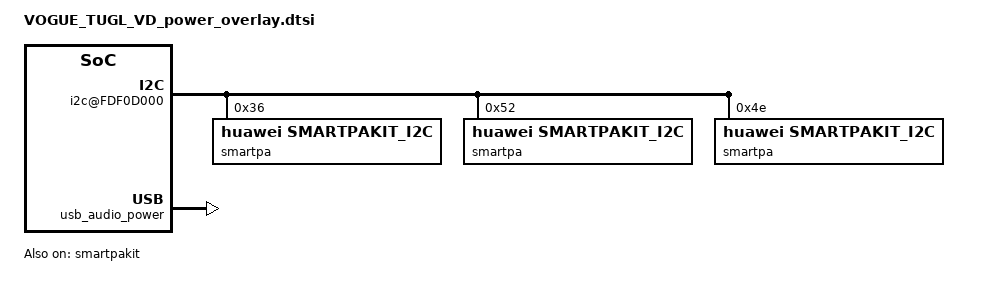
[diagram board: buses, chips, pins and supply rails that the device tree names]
/**
 * Copyright (C) 2014 Hisilicon Ltd.
 *
 *  This program is free software; you can redistribute it and/or modify
 *  it under the terms of the GNU General Public License version 2 as
 *  publishhed by the Free Software Foundation.
 */

/include/ "desayatl_4100_snYA_4400_48.dtsi"
/include/ "desayatl_4100_snYT_4400_48.dtsi"
/include/ "scudmurata_4100_snCS_4400_64.dtsi"
/include/ "scudmurata_4100_snCZ_4400_64.dtsi"
/include/ "VOGUE_TUGL_VC_SKY_overlay.dtsi"

/ {
    board_id = <8513>;
};
    &rootparam{
		compatible = "hisilicon,vendor";
		hisi,boardid = <8 5 1 3>;
		hisi,boardname = "VOGUE_TUGL_VD_power";
		hisi,modem_id = <0x37053100>;
		hisi,product_id = <0x37053100>;
		hisi,product_name = "VOG-AL00";
	};

	&amba {
		i2c@FDF0D000 {
			smartpa@36{
				compatible = "huawei,smartpakit_i2c";
				reg = <0x36>;
				/* 0 MAXIM, 1 NXP, 2 TI, 3 OTHER, 4:huawei customize */
				chip_vendor = <4>;
				/* refer to smartpakit.out_device prop */
				chip_id = <1>;
				chip_model = "tfa9874";
				status = "ok";

				/* reg_ctl node: a node contains three data<addr value ctl_type>
				 * ctl_type: 0 read reg(default), 1 write reg, 2 only time delay
				 * value:
				 *     read:  reg number(num >= 1)
				 *     write: reg value
				 *     delay: time delay
				 * time delay unit: msecs */
				version_regs = <0x03 1 0>;
				dump_regs = <0 256 0>;
				hw_reset {
					gpio_reset = <&gpio28 4 0>;
					/* gpio_state node: a node contains two data<state delay>
					 * time delay unit: msecs */
					ctl_sequence = <1 1 0 1>;
				};
				irq_handler {
					gpio_irq = <&gpio28 5 0>;
					/* 0x0 IRQF_TRIGGER_NONE, 0x1 IRQF_TRIGGER_RISING, 0x2 IRQF_TRIGGER_FALLING, 0x4 IRQF_TRIGGER_HIGH, 0x8 IRQF_TRIGGER_LOW*/
					irq_flags = <2>;
					/* whether or not need reset chip*/
					need_reset;
					rw_sequence = <
						0x10 1 0
						0x11 1 0
						0x13 1 0
						0x14 1 0
						0x40 1 0
						0x41 1 0
						0x42 1 0
					>;
				};

				regmap_cfg {
					reg_bits = <8>;
					val_bits = <16>;
					/* 0 REGCACHE_NONE, 1 REGCACHE_RBTREE, 2 REGCACHE_COMPRESSED, 3 REGCACHE_FLAT */
					cache_type = <0>;
					max_register = <0xff>;
					reg_defaults = <
						0x00 0x1801
						0x01 0x0014
					>;
				};
			};

			smartpa@52{
				compatible = "huawei,smartpakit_i2c";
				reg = <0x52>;
				/* 0 MAXIM, 1 NXP, 2 TI, 3 OTHER, 4:huawei customize */
				chip_vendor = <4>;
				/* refer to smartpakit.out_device prop */
				chip_id = <1>;
				chip_model = "cs35l36";
				status = "ok";

				/* reg_ctl node: a node contains three data<addr value ctl_type>
				* ctl_type: 0 read reg(default), 1 write reg, 2 only time delay
				* value:
				*     read:  reg number(num >= 1)
				*     write: reg value
				*     delay: time delay
				* time delay unit: msecs */
				version_regs = <0x0 1 0>;
				dump_regs = <
					0x000000 1          0
					0x000008 1          0
					0x002014 0x21       0
					0x002400 1          0
					0x002c04 0xd        0
					0x003800 0x31       0
					0x004004 1          0
					0x004220 1          0
					0x004300 1          0
					0x004800 0x3d       0
					0x004C00 1          0
					0x004C20 0x15       0
					0x006000 1          0
					0x006404 0x11       0
					0x006450 1          0
					0x006800 0x9        0
					0x006C04 1          0
					0xd00000 0x4d       0
					0xe02800 1          0>;

				hw_reset {
					gpio_reset = <&gpio28 4 0>;
					/* gpio_state node: a node contains two data<state delay>
					* time delay unit: msecs */
					ctl_sequence = <1 1 0 1>;
				};

				irq_handler {
					gpio_irq = <&gpio28 5 0>;
					/* 0x0 IRQF_TRIGGER_NONE, 0x1 IRQF_TRIGGER_RISING, 0x2 IRQF_TRIGGER_FALLING, 0x4 IRQF_TRIGGER_HIGH, 0x8 IRQF_TRIGGER_LOW*/
					irq_flags = <2>;
					/* whether or not need reset chip*/
					need_reset;
					rw_sequence = <
						0xd00020 1          0
						0xd00024 1          0
						0xd00028 1          0
						0xd0002c 1          0
						0xd00000 0xffffffff 1
						0xd00004 0xffffffff 1
						0xd00008 0xffffffff 1
						0xd0000c 0xffffffff 1
					>;
				};

				regmap_cfg {
					reg_bits = <32>;
					val_bits = <32>;
					/* 0 REGCACHE_NONE, 1 REGCACHE_RBTREE, 2 REGCACHE_COMPRESSED, 3 REGCACHE_FLAT */
					cache_type = <0>;
					max_register = <0xe0ffff>;
				};
			};

			smartpa@4E{
				compatible = "huawei,smartpakit_i2c";
				reg = <0x4E>;
				/* 0 MAXIM, 1 NXP, 2 TI, 3 OTHER, 4:huawei customize */
				chip_vendor = <4>;
				/* refer to smartpakit.out_device prop */
				chip_id = <1>;
				chip_model = "tas2562";
				/* maybe trigger one irq after some chip reset, ext. tas2560
				* debounce wait time unit: msecs */
				reset_debounce_wait_time = <100>;
				status = "ok";

				/* reg_ctl node: a node contains three data<addr value ctl_type>
				* ctl_type: 0 read reg(default), 1 write reg, 2 only time delay
				* value:
				*     read:  reg number(num >= 1)
				*     write: reg value
				*     delay: time delay
				* time delay unit: msecs */
				version_regs = <
					0	0	1
					125	1	0
					>;
				dump_regs = <
					0	0	1
					0	128	0
					0	50	1
					0	128	0
					0	51	1
					0	128	0
					0	52	1
					0	128	0
				>;
				hw_reset {
					gpio_reset = <&gpio28 4 0>;
					/* gpio_state node: a node contains two data<state delay>
					* time delay unit: msecs */
					ctl_sequence = <0 3 1 2>;
				};

				irq_handler {
					gpio_irq = <&gpio28 5 0>;
					/* 0x0 IRQF_TRIGGER_NONE, 0x1 IRQF_TRIGGER_RISING, 0x2 IRQF_TRIGGER_FALLING, 0x4 IRQF_TRIGGER_HIGH, 0x8 IRQF_TRIGGER_LOW*/
					irq_flags = <2>;
					/* whether or not need reset chip*/
					need_reset;
					rw_sequence = <
						0	20	2
						0	0	1
						26	1	0
						27	1	0
						31	1	0
						32	1	0
						36	1	0
						37	1	0
						2	1	0
						120	1	0
					>;
				};

				regmap_cfg {
					reg_bits = <8>;
					val_bits = <8>;
					/* 0 REGCACHE_NONE, 1 REGCACHE_RBTREE, 2 REGCACHE_COMPRESSED, 3 REGCACHE_FLAT */
					cache_type = <0>;
					max_register = <128>;
				};
			};
		};
	};

	&smartpakit {
		/* 0 hisi, 1 qcom */
		soc_platform = <0>;
		/* algo running on: 0 codec_dsp, 1 soc_dsp, 2 smartpa_dsp, 3 simple pa(not smpartpa), 4 simple pa(with i2c) */
		algo_in = <1>;
		/* algo_in params need match out_device for smartpa.
		 * Now, up to only support four pa, so out_device = <0 0 0 0>;
		 * 1. This array is arranged in the following order:
		 *    <0 1 2 3>
		 *    <pril prir secl secr>
		 * 2. This array element value is 0 or 1:
		 *    smartpa: 0 speaker, 1 receiver
		 *    simple pa: out_device not applicable, only set 0 to indicate pa_num
		 * 3. The length of this array is variable, for example:
		 *    single pa: out_device = <0>;
		 *    two pa: out_device = <0 0>;
		 *    four pa: out_device = <1 1 0 0>; */
		out_device = <0 1>;
		dsp_img_name = "hifi_6405_virtual_btn_devkit.img";
		special_name_config = "smartpa_with_ep";
		status = "ok";
		switch_ctl {
			gpio_reset0 = <0>;
			gpio_reset1 = <0>;
			gpio_state_default = <1 1>;
		};
	};

    &sensorhub_ext_config {
        homo_activity = "enabled";
    }; 
	&hisi_battery {
		batt_name = <&desayatl_4100_snYA_4400_48 &desayatl_4100_snYT_4400_48 &scudmurata_4100_snCS_4400_64 &scudmurata_4100_snCZ_4400_64>;
		default_batt_id_index = <1>;
	};

	&usb_audio_power_v600 {
		compatible = "huawei,usb_audio_power_v600";
		status = "disabled";
	};

	&usb_audio_power {
		compatible = "huawei,usb_audio_power";
		gpio_type = <0>;
		gpio_one_ctrl = <1>;
		gpio_low_power_ctrl = <&gpio6 5 0>;
		status = "ok";
	};

	&direct_charger_sc {
		volt_para =
			"4150", "8000", "6100",
			"4250", "6100", "5200",
			"4300", "5200", "4100",
			"4400", "4100", "2000";
		volt_para1 =
			"4200", "8000", "6100",
			"4330", "6100", "5200",
			"4350", "5200", "4100",
			"4400", "4100", "2000";
		volt_para2 =
			"4150", "8000", "6100",
			"4250", "6100", "5200",
			"4300", "5200", "4100",
			"4400", "4100", "2000";
		volt_para3 =
			"4200", "8000", "6100",
			"4255", "6100", "5200",
			"4300", "5200", "4100",
			"4400", "4100", "2000";
	};
